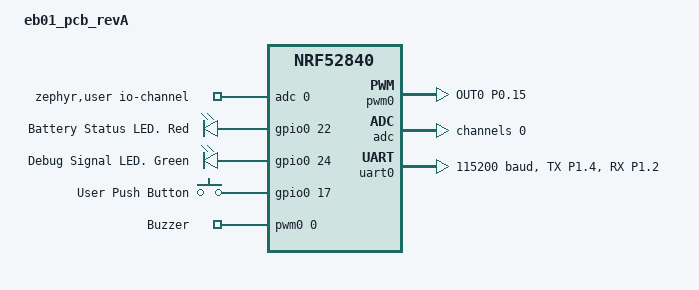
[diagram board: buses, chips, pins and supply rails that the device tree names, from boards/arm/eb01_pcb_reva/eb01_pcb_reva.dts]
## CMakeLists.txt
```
#
# Copyright (c) 2018 Nordic Semiconductor
#
# SPDX-License-Identifier: LicenseRef-Nordic-5-Clause
#
cmake_minimum_required(VERSION 3.20.0)

find_package(Zephyr REQUIRED HINTS $ENV{ZEPHYR_BASE})
project(NONE)

# NORDIC SDK APP START
target_sources(app PRIVATE
  src/main.c
  src/core.c
  src/version.c
  src/ble/bluetooth.c
  src/ble/eddystone.c
  src/drivers/board.c
  src/drivers/leds/drv_leds.c
  src/drivers/buttons/drv_button.c
  src/drivers/pwr/drv_pwr.c
  src/drivers/sound/drv_sound.c
  src/drivers/adc/drv_adc.c
)

# NORDIC SDK APP END
zephyr_library_include_directories(.)
```

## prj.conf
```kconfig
#
# Copyright (c) 2018 Nordic Semiconductor
#
# SPDX-License-Identifier: LicenseRef-Nordic-5-Clause
#

CONFIG_BT_DEVICE_NAME="SVBeacon_0000000"
CONFIG_BT_DEVICE_NAME_DYNAMIC=y

# low level hardware modules

CONFIG_GPIO=y
CONFIG_SERIAL=y
CONFIG_UART_ASYNC_API=y
CONFIG_ADC=y
CONFIG_PWM=y
CONFIG_PINCTRL=y
CONFIG_PM=y
CONFIG_PM_DEVICE=y
CONFIG_PM_DEVICE_RUNTIME=y

CONFIG_RTC=y
CONFIG_RTC_ALARM=y
CONFIG_RTC_UPDATE=y
CONFIG_RTC_CALIBRATION=y

# BT

CONFIG_BT=y
CONFIG_BT_PERIPHERAL=y

# Settings

CONFIG_SETTINGS=y
CONFIG_BT_SETTINGS=y
CONFIG_FLASH=y
CONFIG_FLASH_PAGE_LAYOUT=y
CONFIG_FLASH_MAP=y
CONFIG_NVS=y
CONFIG_MPU_ALLOW_FLASH_WRITE=y

CONFIG_PM_PARTITION_SIZE_SETTINGS_STORAGE=0x4000
CONFIG_SETTINGS_NVS_SECTOR_COUNT=2

# Logging

CONFIG_LOG=y
CONFIG_CONSOLE=y
CONFIG_UART_CONSOLE=y
CONFIG_LOG_BACKEND_UART=y

# configuration for OTA DFU (MCUmgr, MCUboot, BLE for transfer)

CONFIG_NCS_SAMPLE_MCUMGR_BT_OTA_DFU=y
CONFIG_BOOTLOADER_MCUBOOT=y
CONFIG_MCUBOOT_IMAGE_VERSION="1.0.0"
CONFIG_MCUBOOT_GENERATE_UNSIGNED_IMAGE=y
CONFIG_DISABLE_FLASH_PATCH=y

# enable reboot from user space

CONFIG_REBOOT=y

# others

CONFIG_SYSTEM_WORKQUEUE_STACK_SIZE=2048

CONFIG_NRF_CC3XX_PLATFORM=y
CONFIG_ONOFF=y
CONFIG_DEBUG_THREAD_INFO=y
CONFIG_XOSHIRO_RANDOM_GENERATOR=y
CONFIG_DEBUG_OPTIMIZATIONS=y

CONFIG_CBPRINTF_FP_SUPPORT=y
```

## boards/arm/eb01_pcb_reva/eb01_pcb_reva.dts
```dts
// Copyright (c) 2023 Nordic Semiconductor ASA
// SPDX-License-Identifier: Apache-2.0

/dts-v1/;
#include <nordic/nrf52840_qiaa.dtsi>

/ {
	model = "eb01_pcb_revA";
	compatible = "grem,eb01-pcb-reva";

	chosen {
        zephyr,console = &uart0;
		zephyr,sram = &sram0;
		zephyr,flash = &flash0;
		zephyr,code-partition = &slot0_partition;
	};

    zephyr,user {
		io-channels = <&adc 0>;
	};

    leds {
        compatible = "gpio-leds";

        led_bat: led_bat {
            gpios = < &gpio0 22 GPIO_ACTIVE_HIGH >;
            label = "Battery Status LED. Red";
        };

        led_dbg: led_dbg {
            gpios = < &gpio0 24 GPIO_ACTIVE_HIGH >;
            label = "Debug Signal LED. Green";
        };
    };

    buttons {
        compatible = "gpio-keys";

        button0: button0 {
            gpios = < &gpio0 17 (GPIO_PULL_DOWN | GPIO_ACTIVE_HIGH)>;
            label = "User Push Button";
        };
        wakeup-source;
    };

    pwmbuzzer {
        compatible = "pwm-leds";

        buzzer0: buzzer0 {
            pwms = < &pwm0 0 PWM_KHZ(4) PWM_POLARITY_NORMAL >;
            label = "Buzzer";
        };
    };

    aliases {
        sw0 = &button0;
        sound0 = &buzzer0;
    };
};

&gpiote {
    status = "okay";
};

&gpio0 {
    status = "okay";
};

&gpio1 {
    status = "okay";
};

&pwm0 {
    status = "okay";

    pinctrl-0 = <&pwm0_default>;
    pinctrl-1 = <&pwm0_sleep>;

    pinctrl-names = "default", "sleep";
};

&adc {
    status = "okay";

    #address-cells = <1>;
    #size-cells = <0>;

    channel@0 {
        reg = <0>;
        zephyr,gain = "ADC_GAIN_1_6";
        zephyr,reference = "ADC_REF_INTERNAL";
        zephyr,acquisition-time = <ADC_ACQ_TIME_DEFAULT>;
        zephyr,input-positive = <NRF_SAADC_AIN0>; /* P0.02 */
        zephyr,resolution = <12>;
    };
};

&uart0 {
    compatible = "nordic,nrf-uart";
    status = "okay";

    current-speed = <115200>;
    
    pinctrl-0 = <&uart0_default>;
    pinctrl-1 = <&uart0_sleep>;

    pinctrl-names = "default", "sleep";
};


&pinctrl {

    // P1.02 - DBG_RX
    // P1.04 - DBG_TX

    uart0_default: uart0_default {
        group1 {
            psels = <NRF_PSEL(UART_TX, 1, 4)>, <NRF_PSEL(UART_RX, 1, 2)>;
        };
    };

    uart0_sleep: uart0_sleep {
        group1 {
            psels = <NRF_PSEL(UART_TX, 1, 4)>, <NRF_PSEL(UART_RX, 1, 2)>;
            low-power-enable;
        };
    };

    // P0.15 - Sound (PWM)

    pwm0_default: pwm0_default {
        group1 {
            psels = <NRF_PSEL(PWM_OUT0, 0, 15)>;
        };
    };

    pwm0_sleep: pwm0_sleep {
        group1 {
            psels = <NRF_PSEL(PWM_OUT0, 0, 15)>;
            low-power-enable;
        };
    };
};

&flash0 {
	partitions {
		compatible = "fixed-partitions";
		#address-cells = <1>;
		#size-cells = <1>;

		boot_partition: partition@0 {
			label = "mcuboot";
			reg = <0x0 0xc000>;
		};
		slot0_partition: partition@c000 {
			label = "image-0";
			reg = <0xc000 0x72000>;
		};
		slot1_partition: partition@7e000 {
			label = "image-1";
			reg = <0x7e000 0x72000>;
		};
		scratch_partition: partition@f0000 {
			label = "image-scratch";
			reg = <0xf0000 0xa000>;
		};
		storage_partition: partition@fa000 {
			label = "storage";
			reg = <0xfa000 0x6000>;
		};
	};
};
```

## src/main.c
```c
#include <zephyr/kernel.h>
#include <zephyr/settings/settings.h>

#include "core.h"
#include "drivers/board.h"

void main(void)
{
    HardwareInit();
    CoreInit();

    if (IS_ENABLED(CONFIG_SETTINGS)) 
    {
        settings_load();
    }

    CoreStart();
}
```

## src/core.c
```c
#include <zephyr/kernel.h>
#include <zephyr/sys/util.h>
#include <zephyr/logging/log.h>

#include "fwconfig.h"
#include "core.h"
#include "drivers/board.h"
#include "ble/bluetooth.h"


LOG_MODULE_REGISTER(core, LOG_LEVEL_DBG);


static void ShowConnectionStatus(void)
{
#ifdef ENABLE_DBG_GREEN_LED

    static uint8_t isNewConnection = 0;

    if (BluetoothGetStatus() == BLE_STATUS_CONNECTED)
    {
        DriverLedsSetState(LED_IDX_GREEN, LED_STATE_ON);
        if (isNewConnection)
        {
            DriverSoundPlay(100);
            isNewConnection = 0;
        }
    }
    else
    {
        isNewConnection = 1;
        DriverLedsStateToggle(LED_IDX_GREEN);
    }

#endif
}

static void AwaitButtonReleased(void)
{
    static int timeout = 0;

    while (1)
    {
        // wait when the button is release and enable it again

        if (DriverButtonIsReleased())
        {
            DriverLedsSetStateOffAll();
            DriverButtonEnable();
            return;
        }

        // show all leds in case after TIME_MSEC_ACTIVE_TIME sec 
        // the button is still pressed (emergency situation the button (we have a mechanical one) may
        // be got stuck and requires attation)

        if (timeout > TIME_MSEC_ACTIVE_TIME)
        {
            DriverLedsSetStateOnAll();
        }

        timeout += TIME_MSEC_CORE_PING;
        k_sleep(K_MSEC(TIME_MSEC_CORE_PING));
    }
}

enum
{
    WAKEUP_ACTION_PING = 0,
    WAKEUP_ACTION_EMERGENCY,
};

static void CommonWakeupAction(int type)
{
    static int timeout;

    // disable button to prevent unnecessary interruption

    DriverButtonDisable();

    // turn the Red LED on in case there is a problem with the battery level
    
    if (DirverPwrIsPowerGood() != PWR_STATUS_OK)
    {
        DriverLedsSetStateOn(LED_IDX_RED);
    }

    // send information via BLE (BLE advertising only)

    if (type == WAKEUP_ACTION_PING)
    {
        BluetoothAdvStart(BLE_ADV_TYPE_PING);
    }
    else if (type == WAKEUP_ACTION_EMERGENCY)
    {
        BluetoothAdvStart(BLE_ADV_TYPE_EMERGENCY);
    }
    else
    {
        LOG_ERR("Unexpected type of wakeup action. It will be handled as PING");
        BluetoothAdvStart(BLE_ADV_TYPE_PING);
    }

    timeout = 0;
    while (1)
    {
        if (BluetoothGetStatus() == BLE_STATUS_DISCONNECTED)
        {    
            if (timeout > TIME_MSEC_ACTIVE_TIME)
            {
                break;
            }
        }

        // we need to update advertising information (information about button status)
        // only during PING, otherwise we need to keep all field fixed (even if the button
        // has been release at some point)

        if (type == WAKEUP_ACTION_PING)
        {
            BluetoothAdvUpdate();
        }

        ShowConnectionStatus();
        
        timeout += TIME_MSEC_CORE_PING;
        k_sleep(K_MSEC(TIME_MSEC_CORE_PING));
    }

    // and if there is no any connection within TIME_MSEC_ACTIVE_TIME
    // then stop any BLE activity in order to return to sleep mode

    BluetoothAdvStop();
    DriverLedsSetStateOffAll();

    // and enable button again once it's release

    AwaitButtonReleased();
}

static int      buttonPressEvent;
struct k_work   button_press_work;

static void button_press_handler(void)
{
    k_work_submit(&button_press_work);
}

static void HandleWakeupButtonPressEvent(struct k_work * work)
{
    DriverButtonDisable();

    k_sleep(K_MSEC(75));
    if (DriverButtonIsPressed())
    {
        // produce BEEP_COUNT beeps with BEEP_PERIOD_MS period
        
        for (int i = 0; i < BEEP_COUNT; i++)
        {
            DriverSoundPlay(BEEP_DURATION_MS);
            k_sleep(K_MSEC(BEEP_PERIOD_MS - BEEP_DURATION_MS));
        }

        // the button will be enabled later after sending info via BLE

        buttonPressEvent = 1;
        return;
    }

    // enable button here only if we detected the faulty press

    DriverButtonEnable();
}

K_WORK_DEFINE(button_press_work, HandleWakeupButtonPressEvent);

void CoreInit(void)
{
    PrintResetReason();
    BluetoothInit();

    buttonPressEvent = 0;

    SetButtonPressCallback(button_press_handler);
}

void CoreStart(void)
{
    // during start up process we need to show BLE activity
    // immideately, otherwise it's not clear if everything is okay or not
    // (especially if we have tried to update the code - OTA)

    CommonWakeupAction(WAKEUP_ACTION_PING);

    static int timeout = 0;
    while (1)
    {
        if ( buttonPressEvent || ( timeout >= (TIME_SEC_WAKEUP_PERIOD * 1000) ) )
        {
            if (buttonPressEvent)
            {
                buttonPressEvent = 0;
                CommonWakeupAction(WAKEUP_ACTION_EMERGENCY);
            }
            else
            {
                CommonWakeupAction(WAKEUP_ACTION_PING);
            }

            timeout = 0;
        }

        timeout += TIME_MSEC_CORE_PING;
        k_sleep(K_MSEC(TIME_MSEC_CORE_PING));
    }
}
```

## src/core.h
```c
#if !defined(core_h)
#define core_h

#ifdef __cplusplus
    extern "C" {
#endif

#include <zephyr/kernel.h>

#define DEVICE_NAME             "BLE DBG"
#define DEVICE_NAME_LEN         (sizeof(DEVICE_NAME) - 1)

void CoreInit(void);
void CoreStart(void);

#ifdef __cplusplus
    }
#endif

#endif
```

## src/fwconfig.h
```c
#if !defined(fwconfig_h)
#define fwconfig_h

#define ENABLE_DBG_GREEN_LED

#define TIME_MSEC_CORE_PING     (250)
#define TIME_MSEC_ACTIVE_TIME   (1 * 30 * 1000)

#define TIME_SEC_WAKEUP_PERIOD  (10 * 60)

#define BEEP_COUNT              (10)
#define BEEP_DURATION_MS        (100)
#define BEEP_PERIOD_MS          (500)

#endif
```

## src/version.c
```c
#include "version.h"

const char *fwVersion = "1.2.4";
const char *hwVersion = "rev.A";
```

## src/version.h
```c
#if !defined(version_h)
#define version_h

extern const char *fwVersion;
extern const char *hwVersion;

#endif
```
